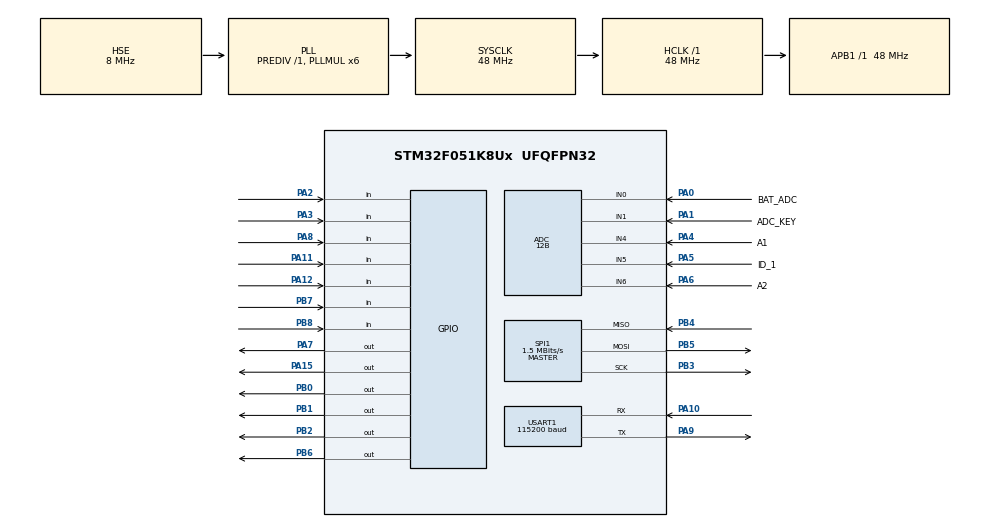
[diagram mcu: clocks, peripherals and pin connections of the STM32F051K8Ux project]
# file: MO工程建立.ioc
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ADC.ClockPrescaler=ADC_CLOCK_ASYNC_DIV1
ADC.ContinuousConvMode=ENABLE
ADC.DMAContinuousRequests=ENABLE
ADC.DataAlign=ADC_DATAALIGN_RIGHT
ADC.DiscontinuousConvMode=DISABLE
ADC.EOCSelection=ADC_EOC_SINGLE_CONV
ADC.EnableAnalogWatchDog=false
ADC.ExternalTrigConv=ADC_SOFTWARE_START
ADC.ExternalTrigConvEdge=ADC_EXTERNALTRIGCONVEDGE_NONE
ADC.LowPowerAutoPowerOff=DISABLE
ADC.LowPowerAutoWait=DISABLE
ADC.Overrun=ADC_OVR_DATA_PRESERVED
ADC.Resolution=ADC_RESOLUTION_12B
ADC.SamplingTime=ADC_SAMPLETIME_239CYCLES_5
ADC.ScanConvMode=ADC_SCAN_DIRECTION_FORWARD
Dma.ADC.1.Direction=DMA_PERIPH_TO_MEMORY
Dma.ADC.1.Instance=DMA1_Channel1
Dma.ADC.1.MemDataAlignment=DMA_MDATAALIGN_HALFWORD
Dma.ADC.1.MemInc=DMA_MINC_ENABLE
Dma.ADC.1.Mode=DMA_NORMAL
Dma.ADC.1.PeriphDataAlignment=DMA_PDATAALIGN_HALFWORD
Dma.ADC.1.PeriphInc=DMA_PINC_DISABLE
Dma.ADC.1.Priority=DMA_PRIORITY_LOW
Dma.Request0=USART1_RX
Dma.Request1=ADC
Dma.USART1_RX.0.Direction=DMA_PERIPH_TO_MEMORY
Dma.USART1_RX.0.Instance=DMA1_Channel3
Dma.USART1_RX.0.MemDataAlignment=DMA_MDATAALIGN_BYTE
Dma.USART1_RX.0.MemInc=DMA_MINC_ENABLE
Dma.USART1_RX.0.Mode=DMA_NORMAL
Dma.USART1_RX.0.PeriphDataAlignment=DMA_PDATAALIGN_BYTE
Dma.USART1_RX.0.PeriphInc=DMA_PINC_DISABLE
Dma.USART1_RX.0.Priority=DMA_PRIORITY_LOW
Mcu.Family=STM32F0
Mcu.Name=STM32F051K8Ux
Mcu.Package=UFQFPN32
NVIC.DMA1_Channel1_IRQn=true\:0\:0\:false\:false\:true
NVIC.DMA1_Channel2_3_IRQn=true\:0\:0\:false\:false\:true
NVIC.RTC_IRQn=true\:0\:0\:false\:false\:true
NVIC.TIM2_IRQn=true\:0\:0\:false\:false\:true
NVIC.USART1_IRQn=true\:0\:0\:false\:false\:true
PA0.GPIO_Label=BAT_ADC
PA0.Mode=IN0
PA0.Signal=ADC_IN0
PA1.GPIO_Label=ADC_KEY
PA1.Mode=IN1
PA1.Signal=ADC_IN1
PA10.Mode=Asynchronous
PA10.Signal=USART1_RX
PA11.Signal=GPIO_Input
PA12.Signal=GPIO_Input
PA13.Mode=Serial_Wire
PA13.Signal=SYS_SWDIO
PA14.Mode=Serial_Wire
PA14.Signal=SYS_SWCLK
PA15.Signal=GPIO_Output
PA2.Signal=GPIO_Input
PA3.Signal=GPIO_Input
PA4.GPIO_Label=A1
PA4.Mode=IN4
PA4.Signal=ADC_IN4
PA5.GPIO_Label=ID_1
PA5.Mode=IN5
PA5.Signal=ADC_IN5
PA6.GPIO_Label=A2
PA6.Mode=IN6
PA6.Signal=ADC_IN6
PA7.Signal=GPIO_Output
PA8.Signal=GPIO_Input
PA9.Mode=Asynchronous
PA9.Signal=USART1_TX
PB0.Signal=GPIO_Output
PB1.Signal=GPIO_Output
PB2.Signal=GPIO_Output
PB3.Mode=Full_Duplex_Master
PB3.Signal=SPI1_SCK
PB4.Mode=Full_Duplex_Master
PB4.Signal=SPI1_MISO
PB5.Mode=Full_Duplex_Master
PB5.Signal=SPI1_MOSI
PB6.Signal=GPIO_Output
PB7.Signal=GPIO_Input
PB8.Signal=GPIO_Input
PF0-OSC_IN.Mode=HSE-External-Oscillator
PF0-OSC_IN.Signal=RCC_OSC_IN
PF1-OSC_OUT.Mode=HSE-External-Oscillator
PF1-OSC_OUT.Signal=RCC_OSC_OUT
ProjectManager.HeapSize=0x200
ProjectManager.StackSize=0x400
ProjectManager.TargetToolchain=EWARM
RCC.AHBFreq_Value=48000000
RCC.APB1Freq_Value=48000000
RCC.APB1TimFreq_Value=48000000
RCC.HCLKFreq_Value=48000000
RCC.PLLMUL=RCC_PLL_MUL6
RCC.PLLSourceVirtual=RCC_PLLSOURCE_HSE
RCC.RTCClockSelection=RCC_RTCCLKSOURCE_HSE_DIV32
RCC.SYSCLKFreq_VALUE=48000000
RCC.SYSCLKSource=RCC_SYSCLKSOURCE_PLLCLK
RTC.Alarm=RTC_ALARM_A
RTC.AlarmMaskDateWeekDay=RTC_ALARMMASK_DATEWEEKDAY
RTC.AsynchPrediv=125-1
RTC.Month=RTC_MONTH_APRIL
RTC.Seconds_A=0
RTC.SynchPrediv=2000-1
RTC.Year=18
SPI1.BaudRatePrescaler=SPI_BAUDRATEPRESCALER_32
SPI1.CalculateBaudRate=1.5 MBits/s
SPI1.DataSize=SPI_DATASIZE_8BIT
SPI1.Direction=SPI_DIRECTION_2LINES
SPI1.Mode=SPI_MODE_MASTER
SPI1.VirtualType=VM_MASTER
TIM2.AutoReloadPreload=TIM_AUTORELOAD_PRELOAD_DISABLE
TIM2.Period=100*1000-1
TIM2.Prescaler=480-1
USART1.BaudRate=115200
USART1.VirtualMode-Asynchronous=VM_ASYNC
VP_RTC_VS_RTC_Activate.Mode=RTC_Enabled
VP_RTC_VS_RTC_Alarm_A_Intern.Mode=Alarm A
VP_RTC_VS_RTC_Calendar.Mode=RTC_Calendar
VP_TIM2_VS_ClockSourceINT.Mode=Internal
board=MO\u5DE5\u7A0B\u5EFA\u7ACB

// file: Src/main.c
/* USER CODE BEGIN Header */
/**
  ******************************************************************************
  * @file           : main.c
  * @brief          : Main program body
  ******************************************************************************
  * @attention
  *
  * <h2><center>&copy; Copyright (c) 2021 STMicroelectronics.
  * All rights reserved.</center></h2>
  *
  * This software component is licensed by ST under BSD 3-Clause license,
  * the "License"; You may not use this file except in compliance with the
  * License. You may obtain a copy of the License at:
  *                        opensource.org/licenses/BSD-3-Clause
  *
  ******************************************************************************
  */
/* USER CODE END Header */
#include "main.h"
#include "stm32f0xx_hal.h"
#include "adc.h"
#include "dma.h"
#include "rtc.h"
#include "spi.h"
#include "tim.h"
#include "usart.h"
#include "gpio.h"
#include <stdio.h>
#include <string.h>
#include "lcd.h"
#include "led.h"
#include "logo.h"
#include "dataprocess.h"
#include "netprocess.h"
#include "protocol.h"

//sx1278
#include "platform.h"
#include "radio.h"
#include "sx1276-Hal.h"
#include "sx1276-LoRa.h"
#include "sx1276-LoRaMisc.h"

/* USER CODE BEGIN PV */
/* Private variables ---------------------------------------------------------*/

uint16_t BufferSize = BUFFER_SIZE;
uint8_t Buffer[BUFFER_SIZE];

#if defined(MASTER)
uint8_t EnableMaster = true;

#elif defined(SLAVE)

uint8_t EnableMaster = false;

#endif

tRadioDriver *Radio = NULL;

uint32_t Master_RxNumber = 0;
uint32_t Master_TxNumber = 0;

uint32_t Slave_RxNumber = 0;
uint32_t Slave_TxNumber = 0;

//所有设备加入网络的当前情况
DeviceJionFlag	JionDeviceStatu = No_Node_Jion_Flag;

//时间同步标志
volatile uint8_t MasterSendTimeSliceFlag = 0;

volatile uint8_t SendDataOkFlag = 0;

extern volatile uint8_t SendClockFlag;

/* USER CODE END PV */

void SystemClock_Config(void);

/* USER CODE BEGIN PFP */
/* Private function prototypes -----------------------------------------------*/

/* USER CODE END PFP */

/* USER CODE BEGIN 0 */

//**********************************//
//
//函数名称：MLCD_Show
//
//函数描述：LoRa主机屏幕显示数据
//
//函数参数：无
//
//返回值：无
//
//*******************************//

void MLCD_Show(void)
{

  uint8_t str[20] = {0};

  LCD_GPIO_Init();

  sprintf((char*)str,"%d",Master_RxNumber);
  Gui_DrawFont_GBK16(64,48,BLACK,YELLOW,str);

  memset((char*)str,0,strlen((char*)str));

  sprintf((char*)str,"%d",Master_TxNumber);
  Gui_DrawFont_GBK16(64,64,BLACK,YELLOW,str);

  HAL_SPI_DeInit(&hspi1);
  MX_SPI1_Init();

}
//**********************************//
//
//函数名称：SLCD_Show
//
//函数描述：LoRa从机屏幕显示数据
//
//函数参数：无
//
//返回值：  无
//
//*******************************//

void SLCD_Show(void)
{

  uint8_t str[20] = {0};

  LCD_GPIO_Init();

  sprintf((char*)str,"%d",Slave_RxNumber);
  Gui_DrawFont_GBK16(64,48,BLACK,YELLOW,str);

  memset((char*)str,0,strlen((char*)str));

  sprintf((char*)str,"%d",Slave_TxNumber);
  Gui_DrawFont_GBK16(64,64,BLACK,YELLOW,str);

  HAL_SPI_DeInit(&hspi1);
  MX_SPI1_Init();

}

/* USER CODE END 0 */

int main(void)
{

  /* USER CODE BEGIN 1 */

  uint8_t RegVersion = 0;
  uint8_t str[20] = {0};
  uint16_t addr = ADDR;

  /* USER CODE END 1 */

  /* MCU Configuration----------------------------------------------------------*/

  /* Reset of all peripherals, Initializes the Flash interface and the Systick. */
  HAL_Init();

  /* USER CODE BEGIN Init */
    uint32_t DelayTime = 0;

  /* USER CODE END Init */

  /* Configure the system clock */
  SystemClock_Config();

  /* Initialize all configured peripherals */
  MX_GPIO_Init();
  MX_DMA_Init();
  MX_ADC_Init();
  MX_USART1_UART_Init();
  MX_SPI1_Init();
  MX_TIM2_Init();

  /* USER CODE BEGIN 2 */

   Lcd_Init();
 // showimage(gImage_logo);
  HAL_Delay(500);
  Lcd_Clear(YELLOW);

  Gui_DrawFont_GBK16(0,0,RED,GREEN,"  LoRa Topology  ");
#if defined (SLAVE)
  Gui_DrawFont_GBK16(0,16,RED,GREEN,"     Slave      ");
#elif defined (MASTER)
  Gui_DrawFont_GBK16(0,16,RED,GREEN,"     Master     ");
#endif
  Gui_DrawFont_GBK16(0,32,BLACK,YELLOW,"ADDR:");
  sprintf((char*)str,"%x",addr);
  Gui_DrawFont_GBK16(64,32,BLACK,YELLOW,str);

  Gui_DrawFont_GBK16(0,48,BLACK,YELLOW,"RX:");
  Gui_DrawFont_GBK16(0,64,BLACK,YELLOW,"TX:");

  HAL_SPI_DeInit(&hspi1);
  MX_SPI1_Init();

  //启动串口1，使能串口空闲中断
  __HAL_UART_ENABLE_IT(&huart1,UART_IT_IDLE);
  HAL_UART_Receive_DMA(&huart1,a_Usart1_RxBuffer,RXLENGHT);

  SX1276Read( REG_LR_VERSION, &RegVersion );

  if(RegVersion != 0x12)
  {
    printf("LoRa read Error!\r\n");
    printf("LoRa RegVersion = %d!\r\n",RegVersion);

  }
  else
  {
    printf("LoRa read Ok!\r\n");
    printf("LoRa RegVersion = %d!\r\n",RegVersion);

  }

  //读到版本号后，关闭3种灯
  LedOff(LED_RX);
  LedOff(LED_TX);
  LedOff(LED_NT);

  Radio = RadioDriverInit();

  Radio->Init();

  printf("systerm init ok!\n");

  Radio->StartRx( );

#if SLAVE
  //获取随机入网时间
  DelayTime = RandomNumber();
  printf("JionTime = %d\n",DelayTime);
  HAL_Delay(DelayTime);
  //等待入网成功
  while (SlaveJionNetFuction());
  //获取节点发送时间片
  SlaveGetSendTime();

#else
    //主机直接初始化RTC
    MX_RTC_Init();
    HAL_TIM_Base_Start_IT(&htim2);

#endif

  /* USER CODE END 2 */

  /* Infinite loop */
  while (1)
  {

  /* USER CODE BEGIN 3 */

    Sx127xDataGet();

#if SLAVE
    if(sendUpDataFlag == 1)
    {

      SendSensorDataUP();
      sendUpDataFlag = 0;

    }

#else
    UartDmaGet();
    //等待节点入网
    if (JionDeviceStatu != Node_Jion_Finish_Flag)
    {
      printf("main 等待加入网络\n");
      JionDeviceStatu = WaitJionNetFinish(10);
    }

        /* 有新节点加入 */
    if (currentDeviceNumber != oldNodeNumber)
    {
      printf("main 新节点加入网络\n");
      HAL_TIM_Base_Start_IT(&htim2);
      JionDeviceStatu = New_Node_Jion_Flag;
      SendClockFlag = 0; //发送分时时间片
    }
       /* 有旧节点加入 */
    for (int i = 0; i < currentDeviceNumber;i++)
    {
      /* 查询是否有旧节点重新加入*/
      if (slaveNetInfo_t[i].deviceNetStatus == AGAIN_JION_NET)
      {
        printf("main 旧节点加入网络\n");
        slaveNetInfo_t[i].deviceNetStatus = JIONDONE;
        JionDeviceStatu = New_Node_Jion_Flag;
		SendClockFlag = 0; //发送分时时间片
        HAL_TIM_Base_Start_IT(&htim2);
      }
    }

        /* 给从机分发时间片 */
    if ((JionDeviceStatu == Node_Jion_Finish_Flag)&&(SendClockFlag == 0)
        &&(currentDeviceNumber != 0))
    {
		if (SendDataOkFlag == 1) {
			SendDataOkFlag = 0;
                        printf("main 发送时钟同步\n");
			//告诉所有节点开始上传数据
			MasterSendClockData();
			SendClockFlag = 1;
			while(!SendDataOkFlag)  //等待发送完成
			{
				Sx127xDataGet();
			}
			SendDataOkFlag = 1;
		}
    }
#endif

    if(EnableMaster == true)
    {
     MLCD_Show();

    }
    else
    {
      SLCD_Show();
    }

  }
  /* USER CODE END 3 */

}

/** System Clock Configuration
*/
void SystemClock_Config(void)
{

  RCC_OscInitTypeDef RCC_OscInitStruct;
  RCC_ClkInitTypeDef RCC_ClkInitStruct;
  RCC_PeriphCLKInitTypeDef PeriphClkInit;

    /**Initializes the CPU, AHB and APB busses clocks
    */
  RCC_OscInitStruct.OscillatorType = RCC_OSCILLATORTYPE_HSI14|RCC_OSCILLATORTYPE_HSE;
  RCC_OscInitStruct.HSEState = RCC_HSE_ON;
  RCC_OscInitStruct.HSIState = RCC_HSI_ON;
  RCC_OscInitStruct.HSI14State = RCC_HSI14_ON;
  RCC_OscInitStruct.HSI14CalibrationValue = 16;
  RCC_OscInitStruct.PLL.PLLState = RCC_PLL_ON;
  RCC_OscInitStruct.PLL.PLLSource = RCC_PLLSOURCE_HSE;
  RCC_OscInitStruct.PLL.PLLMUL = RCC_PLL_MUL6;
  RCC_OscInitStruct.PLL.PREDIV = RCC_PREDIV_DIV1;
  if (HAL_RCC_OscConfig(&RCC_OscInitStruct) != HAL_OK)
  {
    _Error_Handler(__FILE__, __LINE__);
  }

    /**Initializes the CPU, AHB and APB busses clocks
    */
  RCC_ClkInitStruct.ClockType = RCC_CLOCKTYPE_HCLK|RCC_CLOCKTYPE_SYSCLK
                              |RCC_CLOCKTYPE_PCLK1;
  RCC_ClkInitStruct.SYSCLKSource = RCC_SYSCLKSOURCE_PLLCLK;
  RCC_ClkInitStruct.AHBCLKDivider = RCC_SYSCLK_DIV1;
  RCC_ClkInitStruct.APB1CLKDivider = RCC_HCLK_DIV1;

  if (HAL_RCC_ClockConfig(&RCC_ClkInitStruct, FLASH_LATENCY_1) != HAL_OK)
  {
    _Error_Handler(__FILE__, __LINE__);
  }

  PeriphClkInit.PeriphClockSelection = RCC_PERIPHCLK_USART1|RCC_PERIPHCLK_RTC;
  PeriphClkInit.Usart1ClockSelection = RCC_USART1CLKSOURCE_PCLK1;
  PeriphClkInit.RTCClockSelection = RCC_RTCCLKSOURCE_HSE_DIV32;
  if (HAL_RCCEx_PeriphCLKConfig(&PeriphClkInit) != HAL_OK)
  {
    _Error_Handler(__FILE__, __LINE__);
  }

    /**Configure the Systick interrupt time
    */
  HAL_SYSTICK_Config(HAL_RCC_GetHCLKFreq()/1000);

    /**Configure the Systick
    */
  HAL_SYSTICK_CLKSourceConfig(SYSTICK_CLKSOURCE_HCLK);

  /* SysTick_IRQn interrupt configuration */
  HAL_NVIC_SetPriority(SysTick_IRQn, 0, 0);
}

/* USER CODE BEGIN 4 */

int fputc(int ch, FILE *f)
{
  while((USART1->ISR & 0X40)==0);
  USART1->TDR = (uint8_t)ch;
  return ch;
}

/* USER CODE END 4 */

void _Error_Handler(char * file, int line)
{
  while(1)
  {
  }
}

/************************ (C) COPYRIGHT STMicroelectronics *****END OF FILE****/
